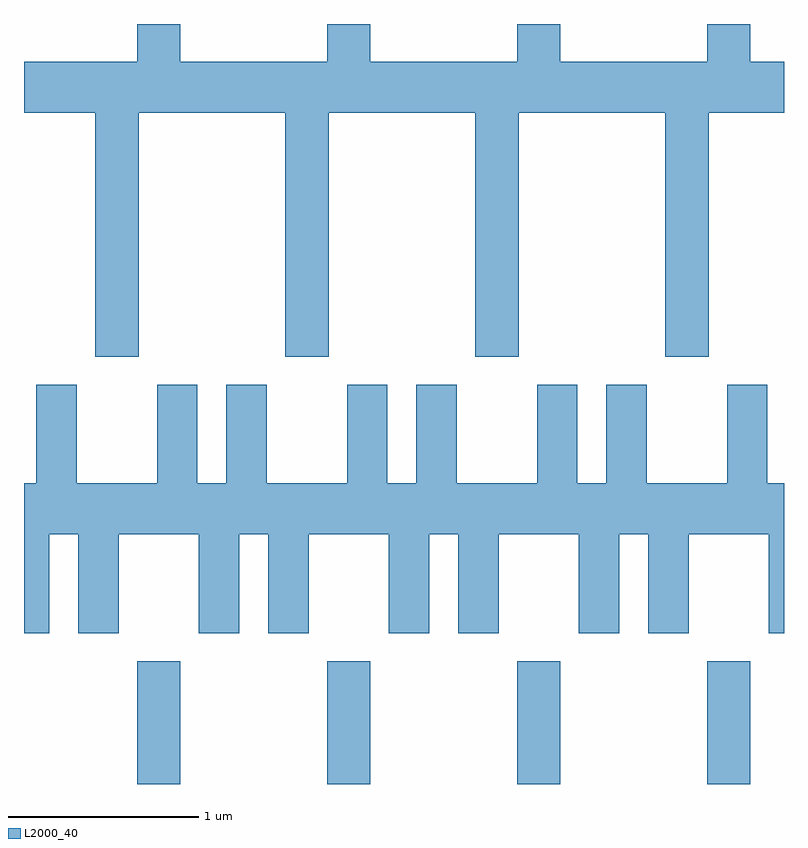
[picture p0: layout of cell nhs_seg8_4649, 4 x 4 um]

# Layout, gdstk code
import gdstk
lib = gdstk.Library(unit=1e-6, precision=1e-09)
def R(c, l, rs):  # rectangles x0, y0, x1, y1
    for r in rs: c.add(gdstk.rectangle(r[:2], r[2:], *l))
def A(c, l, x, y, w, h, nx, ny, dx, dy):  # array of equal rectangles
    R(c, l, [(x+i*dx, y+j*dy, x+i*dx+w, y+j*dy+h) for i in range(nx) for j in range(ny)])
def P(c, l, *ps):  # polygons
    for p in ps: c.add(gdstk.Polygon(p, *l))
L2000_40 = (2000, 40)

nhs_seg8_4649 = lib.new_cell('nhs_seg8_4649')
A(nhs_seg8_4649, L2000_40, 324.206, 1928.342, 0.228, 0.647, 4, 1, 1, 0)
P(nhs_seg8_4649, L2000_40, [(326.206,1932.144),(325.434,1932.144),(325.434,1932.342),(325.206,1932.342),(325.206,1932.144),(324.434,1932.144),(324.434,1932.342),(324.206,1932.342),(324.206,1932.144),(323.611,1932.144),(323.611,1931.876),(323.986,1931.876),(323.986,1930.591),(324.214,1930.591),(324.214,1931.876),(324.986,1931.876),(324.986,1930.591),(325.214,1930.591),(325.214,1931.876),(325.986,1931.876),(325.986,1930.591),(326.214,1930.591),(326.214,1931.876),(326.986,1931.876),(326.986,1930.591),(327.214,1930.591),(327.214,1931.876),(327.611,1931.876),(327.611,1932.144),(327.434,1932.144),(327.434,1932.342),(327.206,1932.342),(327.206,1932.144),(326.434,1932.144),(326.434,1932.342),(326.206,1932.342)],
  [(326.524,1930.444),(326.311,1930.444),(326.311,1929.924),(325.889,1929.924),(325.889,1930.444),(325.676,1930.444),(325.676,1929.924),(325.524,1929.924),(325.524,1930.444),(325.311,1930.444),(325.311,1929.924),(324.889,1929.924),(324.889,1930.444),(324.676,1930.444),(324.676,1929.924),(324.524,1929.924),(324.524,1930.444),(324.311,1930.444),(324.311,1929.924),(323.889,1929.924),(323.889,1930.444),(323.676,1930.444),(323.676,1929.924),(323.611,1929.924),(323.611,1929.136),(323.744,1929.136),(323.744,1929.656),(323.896,1929.656),(323.896,1929.136),(324.109,1929.136),(324.109,1929.656),(324.531,1929.656),(324.531,1929.136),(324.744,1929.136),(324.744,1929.656),(324.896,1929.656),(324.896,1929.136),(325.109,1929.136),(325.109,1929.656),(325.531,1929.656),(325.531,1929.136),(325.744,1929.136),(325.744,1929.656),(325.896,1929.656),(325.896,1929.136),(326.109,1929.136),(326.109,1929.656),(326.531,1929.656),(326.531,1929.136),(326.744,1929.136),(326.744,1929.656),(326.896,1929.656),(326.896,1929.136),(327.109,1929.136),(327.109,1929.656),(327.531,1929.656),(327.531,1929.136),(327.611,1929.136),(327.611,1929.924),(327.524,1929.924),(327.524,1930.444),(327.311,1930.444),(327.311,1929.924),(326.889,1929.924),(326.889,1930.444),(326.676,1930.444),(326.676,1929.924),(326.524,1929.924)])

lib.write_gds('nhs_seg8_4649.gds')
